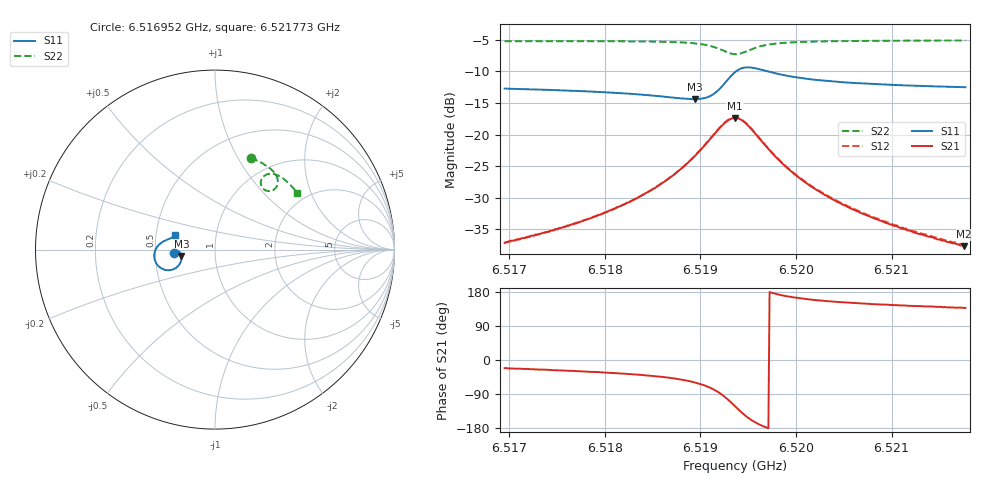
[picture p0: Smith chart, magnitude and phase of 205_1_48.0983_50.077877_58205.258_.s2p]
#  HZ  S  RI  R  50.00
! Rohde & Schwarz Vector Network Analyzer
! Rohde-Schwarz,ZNB20-2Port,1311601062101988,3.16
! Created: UTC 12/23/2023, 3:55:10 AM
! freq[Hz]  re:S11  im:S11  re:S21  im:S21  re:S12  im:S12  re:S22  im:S22
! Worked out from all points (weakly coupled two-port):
!   401 points, 6.516952 GHz to 6.521773 GHz, reference 50 ohm
!   highest |S21| = -17.36 dB at 6.519362 GHz (marker M1); lowest = -37.6 dB at 6.521761 GHz (marker M2)
!   lowest |S11| = -14.4 dB at 6.51894 GHz (marker M3), VSWR 1.47, Z = 34.1 - j2.49 ohm
!   |S11| at or under -10 dB: start of sweep to 6.519372 GHz; 6.519706 GHz to end of sweep
!   |S22| runs from -7.3 to -5.1 dB; largest |S21 - S12| = 0.0043
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6.5169517e9  -0.2307 -0.0179  0.0129 -0.00512  0.013 -0.0047  0.1997 0.5106
6.5174459e9  -0.2252 -0.0108  0.0156 -0.00783  0.0158 -0.00727  0.2363 0.4952
6.5177592e9  -0.2206 -0.00721  0.0179 -0.0102  0.0182 -0.00974  0.2594 0.4834
6.5182173e9  -0.2116 -0.00499  0.023 -0.0169  0.0235 -0.0161  0.2938 0.462
6.5185668e9  -0.2014 -0.00928  0.0287 -0.0275  0.0297 -0.0267  0.3208 0.4394
6.5187476e9  -0.1945 -0.0169  0.0324 -0.038  0.0338 -0.0371  0.3349 0.4228
6.5189405e9  -0.1875 -0.0352  0.0347 -0.058  0.0367 -0.0573  0.3476 0.3969
6.5190489e9  -0.1873 -0.0543  0.0315 -0.0766  0.0342 -0.0761  0.3502 0.376
6.5191333e9  -0.1941 -0.0754  0.0221 -0.0959  0.0252 -0.0958  0.3455 0.3557
6.5192659e9  -0.236 -0.1111  -0.0208 -0.1241  -0.0172 -0.1255  0.3135 0.3275
6.5193623e9  -0.2929 -0.1075  -0.0715 -0.1152  -0.0686 -0.1182  0.2745 0.3345
6.5194105e9  -0.3176 -0.0894  -0.0915 -0.0966  -0.0893 -0.1  0.2607 0.3504
6.5194708e9  -0.335 -0.0584  -0.1037 -0.0678  -0.1025 -0.0712  0.2551 0.3741
6.5195793e9  -0.3344 -0.00869  -0.0976 -0.0255  -0.0978 -0.0285  0.2696 0.4063
6.5196877e9  -0.3182 0.0202  -0.0807 -0.00331  -0.0812 -0.0057  0.2923 0.42
6.5199047e9  -0.2891 0.0443  -0.0536 0.0112  -0.0546 0.00983  0.3294 0.4207
6.5201699e9  -0.2679 0.0544  -0.0359 0.0138  -0.0367 0.0128  0.3598 0.4088
6.5205797e9  -0.2495 0.0622  -0.0227 0.0126  -0.0233 0.0121  0.393 0.3856
6.5209774e9  -0.2386 0.068  -0.0162 0.011  -0.0167 0.0108  0.4182 0.3621
6.5212547e9  -0.2328 0.0718  -0.0133 0.0102  -0.0138 0.01  0.4338 0.3452
6.5217609e9  -0.224 0.0788  -0.00961 0.00893  -0.0102 0.00878  0.4589 0.314
6.5217729e9  -0.2238 0.0788  -0.00975 0.00886  -0.01 0.00875  0.4594 0.3132
